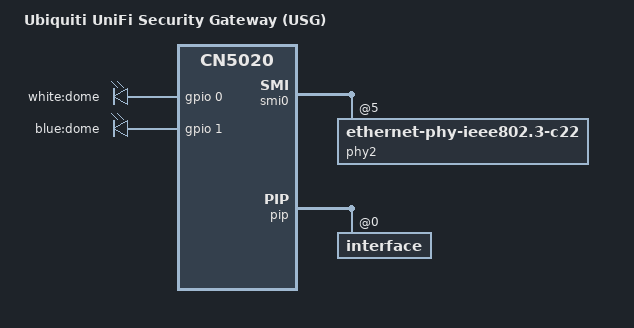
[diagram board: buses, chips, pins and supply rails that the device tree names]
// SPDX-License-Identifier: GPL-2.0-only
/*
 * Device tree source for Ubiquiti UniFi Security Gateway.
 *
 * Written for EdgeRouter Lite by: Aaro Koskinen <aaro.koskinen@iki.fi>
 * Adapted for USG by: Clemens Hopfer <openwrt@wireloss.net>
 */

#include "cn5020_ubnt_e100.dtsi"
#include <dt-bindings/gpio/gpio.h>

/ {
	/* E120 */
	compatible = "ubnt,usg", "ubnt,e100", "cavium,cn5020";
	model = "Ubiquiti UniFi Security Gateway (USG)";

	aliases {
		led-boot = &led_dome_white;
		led-failsafe = &led_dome_blue;
		led-running = &led_dome_blue;
		led-upgrade = &led_dome_blue;
	};

	leds {
		compatible = "gpio-leds";

		led_dome_white: led-0 {
			label = "white:dome";
			gpios = <&gpio 0 GPIO_ACTIVE_HIGH>;
		};

		led_dome_blue: led-1 {
			label = "blue:dome";
			gpios = <&gpio 1 GPIO_ACTIVE_HIGH>;
		};
	};
};

&flash0 {
	compatible = "Macronix,mx29lv640e", "cfi-flash";
	reg = <0 0 0x800000>;

	partitions {
		partition@100000 {
			/* 4k EEPROM */
			reg = <0x100000 0x1000>;
		};

		partition@101000 {
			reg = <0x101000 0x2000>;
			label = "u-boot_gd";
			read-only;
		};

		partition@7fe000 {
			reg = <0x7fe000 0x2000>;
			compatible = "u-boot,env";
			label = "u-boot_env";
		};
	};
};

&smi0 {
	phy2: ethernet-phy@5 {
		reg = <5>;
		compatible = "ethernet-phy-ieee802.3-c22";
	};
};

&eth0 {
	label = "eth0";
};

&eth1 {
	label = "eth1";
};

&pip {
	interface@0 {
		eth2: ethernet@2 {
			phy-handle = <&phy2>;
			rx-delay = <0>;
			tx-delay = <0x10>;

			label = "eth2";
			nvmem-cells = <&macaddr_eeprom_0 2>;
			nvmem-cell-names = "mac-address";
		};
	};
};
